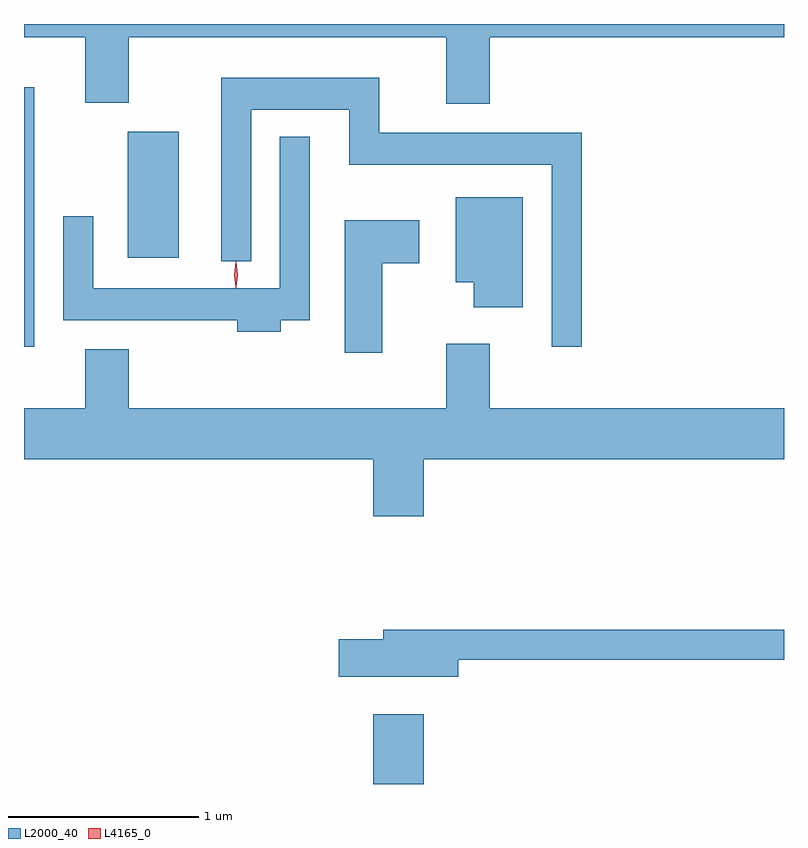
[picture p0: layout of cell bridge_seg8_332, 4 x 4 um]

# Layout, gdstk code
import gdstk
lib = gdstk.Library(unit=1e-6, precision=1e-09)
def R(c, l, rs):  # rectangles x0, y0, x1, y1
    for r in rs: c.add(gdstk.rectangle(r[:2], r[2:], *l))
def P(c, l, *ps):  # polygons
    for p in ps: c.add(gdstk.Polygon(p, *l))
L2000_40 = (2000, 40)
L4165_0 = (4165, 0)

bridge_seg8_332 = lib.new_cell('bridge_seg8_332')
R(bridge_seg8_332, L2000_40, [(874.416,1883.546,874.684,1883.914), (872.579,1885.848,872.634,1887.214), (873.126,1886.316,873.394,1886.979)])
P(bridge_seg8_332, L2000_40, [(875.029,1887.476),(876.579,1887.476),(876.579,1887.546),(872.579,1887.546),(872.579,1887.476),(872.901,1887.476),(872.901,1887.131),(873.129,1887.131),(873.129,1887.476),(874.801,1887.476),(874.801,1887.126),(875.029,1887.126)],
  [(875.514,1886.974),(874.449,1886.974),(874.449,1887.264),(873.616,1887.264),(873.616,1886.298),(873.774,1886.298),(873.774,1887.096),(874.291,1887.096),(874.291,1886.806),(875.356,1886.806),(875.356,1885.848),(875.514,1885.848)],
  [(873.929,1885.986),(874.084,1885.986),(874.084,1886.953),(873.926,1886.953),(873.926,1886.154),(872.944,1886.154),(872.944,1886.533),(872.786,1886.533),(872.786,1885.986),(873.701,1885.986),(873.701,1885.926),(873.929,1885.926)],
  [(875.204,1886.634),(874.851,1886.634),(874.851,1886.186),(874.946,1886.186),(874.946,1886.056),(875.204,1886.056)],
  [(874.464,1886.286),(874.659,1886.286),(874.659,1886.514),(874.266,1886.514),(874.266,1885.816),(874.464,1885.816)],
  [(874.684,1885.256),(876.579,1885.256),(876.579,1885.524),(875.029,1885.524),(875.029,1885.864),(874.801,1885.864),(874.801,1885.524),(873.129,1885.524),(873.129,1885.834),(872.901,1885.834),(872.901,1885.524),(872.579,1885.524),(872.579,1885.256),(874.416,1885.256),(874.416,1884.956),(874.684,1884.956)],
  [(874.864,1884.201),(876.579,1884.201),(876.579,1884.359),(874.471,1884.359),(874.471,1884.309),(874.236,1884.309),(874.236,1884.111),(874.864,1884.111)])
P(bridge_seg8_332, L4165_0, [(873.694,1886.157),(873.694,1886.158),(873.685,1886.227),(873.694,1886.296),(873.695,1886.296),(873.695,1886.296),(873.705,1886.227),(873.695,1886.158)],
  [(873.695,1886.159),(873.694,1886.16),(873.685,1886.226),(873.694,1886.292),(873.695,1886.293),(873.695,1886.292),(873.705,1886.226),(873.695,1886.16)])

lib.write_gds('bridge_seg8_332.gds')
